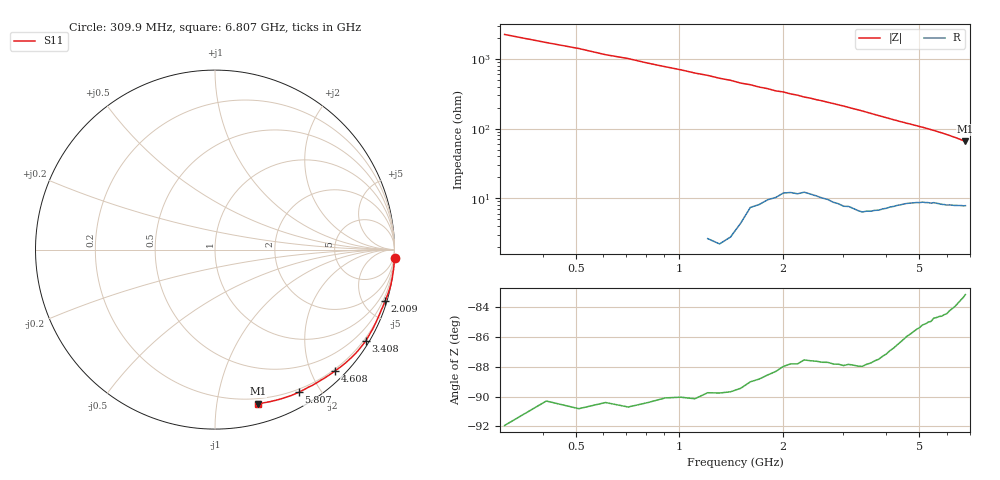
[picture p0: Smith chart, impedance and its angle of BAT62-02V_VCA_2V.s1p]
! Infineon Technologies  Discrete & RF Semiconductors
! BAT62-02V
! VCA = 2 V
! One-Port S-Parameters
# Hz  S  MA  R  50
!f  S11
!Hz  Mag  Ang
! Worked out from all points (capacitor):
!   66 points, 309.9 MHz to 6.807 GHz, reference 50 ohm
!   read as one part to ground: C = 225 fF near 309.9 MHz
!   lowest |Z| = 65.6 ohm at 6.807 GHz (marker M1)
!   S11 on the Smith chart (normalised r, x): 309.9 MHz: -2, -45; 2.009 GHz: 0.24, -6.73; 3.408 GHz: 0.13, -3.59; 4.608 GHz: 0.17, -2.38; 5.807 GHz: 0.16, -1.73; 6.807 GHz: 0.16, -1.30
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3.0985e8  1.002 -2.5
7.0965e8  1.001 -5.6
1.2094e9  0.9992 -9.8
1.30935e9  0.9992 -10.8
1.4093e9  0.9989 -11.5
1.50925e9  0.9979 -12.6
1.6092e9  0.996 -13.3
1.70915e9  0.9949 -14.4
1.8091e9  0.9934 -15.2
1.90905e9  0.9918 -16.3
2.009e9  0.9898 -16.9
2.10895e9  0.9882 -18.0
2.2089e9  0.9878 -18.7
2.30885e9  0.9855 -19.9
2.4088e9  0.9853 -20.7
2.8086e9  0.9842 -24.6
3.0085e9  0.9838 -26.6
3.4083e9  0.9819 -31.1
3.6082e9  0.9785 -33.5
4.008e9  0.9694 -38.3
4.4078e9  0.9571 -43.2
4.6077e9  0.9506 -45.5
4.70765e9  0.9482 -46.4
5.2074e9  0.9349 -52.1
5.8071e9  0.9218 -59.6
6.007e9  0.9174 -62.4
6.4068e9  0.9049 -68.2
6.8066e9  0.8909 -74.5
